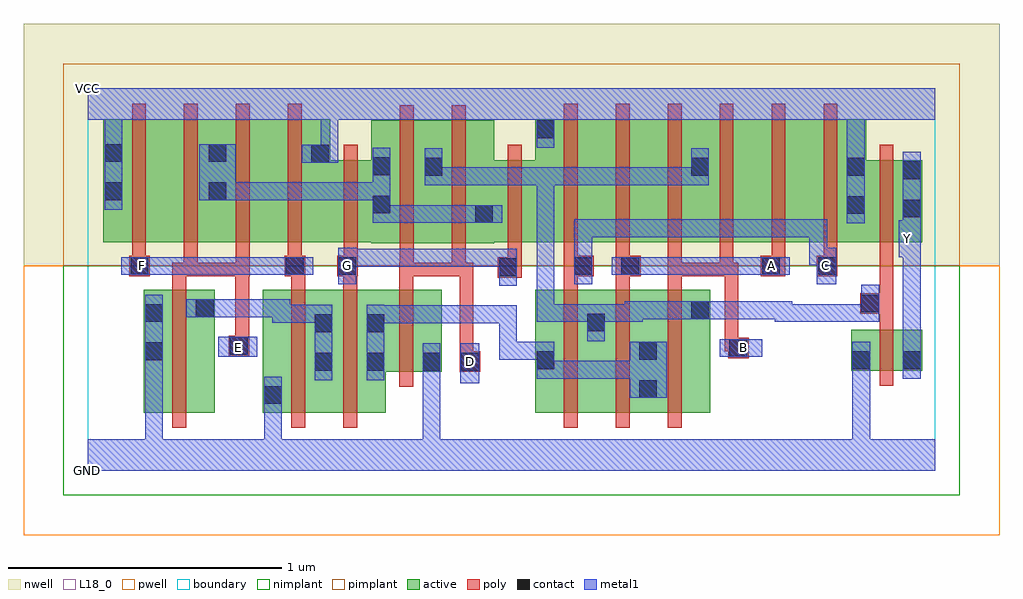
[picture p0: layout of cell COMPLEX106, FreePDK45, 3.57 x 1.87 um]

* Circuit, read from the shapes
.subckt COMPLEX106 A B C D E F G GND VCC Y
M1 n1 E GND VSUBS nfet w=0.45u l=0.05u
M2 n1 F GND VSUBS nfet w=0.45u l=0.05u
M3 n2 G n1 VSUBS nfet w=0.45u l=0.05u
M4 GND D n2 VSUBS nfet w=0.3u l=0.05u
M5 n3 C n2 VSUBS nfet w=0.45u l=0.05u
M6 n2 A n3 VSUBS nfet w=0.45u l=0.05u
M7 n3 B n2 VSUBS nfet w=0.45u l=0.05u
M8 Y n3 GND VSUBS nfet w=0.15u l=0.05u
M9 n4 F VCC n5 pfet w=0.45u l=0.05u
M10 n6 E n4 n5 pfet w=0.45u l=0.05u
M11 n7 E n6 n5 pfet w=0.45u l=0.05u
M12 VCC F n7 n5 pfet w=0.45u l=0.05u
M13 n6 G VCC n5 pfet w=0.3u l=0.05u m=2
M14 n3 D n6 n5 pfet w=0.45u l=0.05u m=2
M15 n8 C VCC n5 pfet w=0.45u l=0.05u
M16 n9 A n8 n5 pfet w=0.45u l=0.05u
M17 n3 B n9 n5 pfet w=0.45u l=0.05u
M18 n10 B n3 n5 pfet w=0.45u l=0.05u
M19 n11 A n10 n5 pfet w=0.45u l=0.05u
M20 VCC C n11 n5 pfet w=0.45u l=0.05u
M21 Y n3 VCC n5 pfet w=0.3u l=0.05u
.ends

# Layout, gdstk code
import gdstk
lib = gdstk.Library(unit=1e-6, precision=1e-09)
def R(c, l, rs):  # rectangles x0, y0, x1, y1
    for r in rs: c.add(gdstk.rectangle(r[:2], r[2:], *l))
def A(c, l, x, y, w, h, nx, ny, dx, dy):  # array of equal rectangles
    R(c, l, [(x+i*dx, y+j*dy, x+i*dx+w, y+j*dy+h) for i in range(nx) for j in range(ny)])
active = (1, 0)
pwell = (2, 0)
nwell = (3, 0)
nimplant = (4, 0)
pimplant = (5, 0)
poly = (9, 0)
contact = (10, 0)
metal1 = (11, 0)
L18_0 = (18, 0)
boundary = (235, 0)

complex106 = lib.new_cell('COMPLEX106')
R(complex106, active, [(0.205,0.212,0.465,0.662), (0.64,0.212,0.9,0.662), (0.825,0.212,1.09,0.662), (1.015,0.212,1.09,0.662), (1.637,0.212,1.897,0.662), (1.822,0.212,2.087,0.662), (2.012,0.212,2.277,0.662), (0.64,0.232,0.715,0.662), (1.637,0.232,1.712,0.662), (0.205,0.245,0.28,0.662), (0.39,0.245,0.465,0.662), (0.825,0.245,0.9,0.662), (1.822,0.245,1.897,0.58), (2.012,0.245,2.087,0.542), (2.202,0.245,2.277,0.662), (1.015,0.362,1.295,0.662), (1.22,0.362,1.295,0.437), (2.792,0.367,2.867,0.517), (2.792,0.367,3.052,0.517), (2.977,0.367,3.052,0.517), (1.037,0.832,1.302,1.282), (1.227,0.832,1.487,1.282), (0.057,0.837,0.282,1.287), (0.057,0.837,0.132,1.255), (0.282,0.837,0.512,1.287), (0.437,0.837,0.662,1.287), (0.662,0.837,0.887,1.287), (0.812,0.837,1.112,1.137), (1.037,0.837,1.112,1.2), (1.412,0.837,1.712,1.137), (1.637,0.837,1.862,1.287), (1.862,0.837,2.052,1.287), (2.052,0.837,2.277,1.287), (2.202,0.837,2.432,1.287), (2.432,0.837,2.622,1.287), (2.622,0.837,2.847,1.287), (2.772,0.837,3.052,1.137), (2.772,0.837,2.847,1.287), (2.977,0.837,3.052,1.137), (0.437,0.857,0.512,1.2), (1.227,0.857,1.302,1.2), (2.202,0.857,2.277,1.2), (1.412,0.902,1.487,1.07), (1.637,0.995,1.712,1.287), (0.812,1.007,0.887,1.287)])
R(complex106, pwell, [(-0.235,-0.235,3.335,0.75)])
R(complex106, nwell, [(-0.235,0.75,3.335,1.635)])
R(complex106, nimplant, [(-0.09,-0.09,3.19,0.75)])
R(complex106, pimplant, [(-0.09,0.75,3.19,1.49)])
A(complex106, poly, 1.742, 0.157, 0.05, 0.56, 3, 1, 0.19, 0)
A(complex106, poly, 1.742, 0.667, 0.05, 0.095, 3, 1, 0.19, 0)
A(complex106, poly, 0.162, 0.782, 0.05, 0.56, 4, 1, 0.19, 0)
A(complex106, poly, 1.742, 0.782, 0.05, 0.56, 6, 1, 0.19, 0)
R(complex106, poly, [(0.31,0.157,0.36,0.717), (0.745,0.157,0.795,0.717), (0.935,0.157,0.985,0.717), (1.14,0.307,1.19,0.717), (2.897,0.312,2.947,0.572), (1.36,0.362,1.435,0.437), (1.36,0.387,1.41,0.762), (2.342,0.412,2.417,0.487), (0.515,0.42,0.59,0.495), (2.33,0.437,2.38,0.762), (2.33,0.437,2.392,0.487), (2.342,0.437,2.392,0.487), (0.54,0.445,0.59,0.762), (2.897,0.522,2.947,0.625), (2.825,0.575,2.947,0.65), (2.897,0.6,2.947,0.832), (0.31,0.667,0.36,0.762), (0.745,0.667,0.795,0.762), (0.935,0.667,0.985,0.762), (1.14,0.667,1.19,0.762), (1.5,0.707,1.587,0.782), (0.152,0.712,0.227,0.787), (0.31,0.712,0.402,0.762), (0.352,0.712,0.402,0.832), (0.352,0.712,0.59,0.762), (0.54,0.712,0.59,0.762), (0.54,0.712,0.59,0.762), (0.54,0.712,0.59,0.762), (0.54,0.712,0.59,0.762), (0.54,0.712,0.592,0.762), (0.542,0.712,0.592,0.832), (0.72,0.712,0.795,0.787), (0.912,0.712,0.987,0.787), (1.14,0.712,1.192,0.762), (1.142,0.712,1.382,0.762), (1.142,0.712,1.192,0.762), (1.142,0.712,1.192,0.762), (1.142,0.712,1.192,0.827), (1.332,0.712,1.382,0.827), (1.332,0.712,1.41,0.762), (1.36,0.712,1.41,0.762), (1.36,0.712,1.41,0.762), (1.742,0.712,1.85,0.787), (1.932,0.712,2.022,0.787), (2.122,0.712,2.172,0.832), (2.122,0.712,2.362,0.762), (2.122,0.712,2.172,0.762), (2.122,0.712,2.172,0.762), (2.122,0.712,2.172,0.762), (2.312,0.712,2.362,0.832), (2.312,0.712,2.38,0.762), (2.462,0.712,2.552,0.787), (2.667,0.712,2.742,0.787), (1.537,0.732,1.587,0.832), (0.162,0.737,0.212,0.832), (0.732,0.737,0.782,0.832), (0.937,0.737,0.987,0.832), (1.742,0.737,1.792,0.832), (1.932,0.737,1.982,0.832), (2.502,0.737,2.552,0.832), (2.692,0.737,2.742,0.832), (1.142,0.777,1.192,1.337), (1.332,0.777,1.382,1.337), (0.937,0.782,0.987,1.192), (1.537,0.782,1.587,1.192), (2.897,0.782,2.947,1.192)])
R(complex106, contact, [(0.645,0.245,0.71,0.31), (2.017,0.267,2.082,0.332), (0.83,0.367,0.895,0.432), (1.02,0.367,1.085,0.432), (1.225,0.367,1.29,0.432), (1.365,0.367,1.43,0.432), (1.642,0.372,1.707,0.437), (2.797,0.372,2.862,0.437), (2.982,0.372,3.047,0.437), (0.21,0.405,0.275,0.47), (2.017,0.407,2.082,0.472), (2.347,0.417,2.412,0.482), (0.52,0.425,0.585,0.49), (0.83,0.507,0.895,0.572), (1.02,0.507,1.085,0.572), (1.827,0.51,1.892,0.575), (0.21,0.545,0.275,0.61), (2.207,0.555,2.272,0.62), (0.395,0.562,0.46,0.627), (2.83,0.58,2.895,0.645), (1.505,0.712,1.57,0.777), (0.157,0.717,0.222,0.782), (0.725,0.717,0.79,0.782), (0.917,0.717,0.982,0.782), (1.78,0.717,1.845,0.782), (1.952,0.717,2.017,0.782), (2.467,0.717,2.532,0.782), (2.672,0.717,2.737,0.782), (1.417,0.907,1.482,0.972), (2.982,0.927,3.047,0.992), (2.777,0.94,2.842,1.005), (1.042,0.942,1.107,1.007), (0.062,0.99,0.127,1.055), (0.442,0.99,0.507,1.055), (2.982,1.067,3.047,1.132), (1.232,1.08,1.297,1.145), (2.207,1.08,2.272,1.145), (2.777,1.08,2.842,1.145), (1.042,1.082,1.107,1.147), (0.817,1.127,0.882,1.192), (0.062,1.13,0.127,1.195), (0.442,1.13,0.507,1.195), (1.642,1.217,1.707,1.282)])
R(complex106, metal1, [(0,0,3.1,0.115), (0.21,0.05,0.275,0.115), (0.21,0.05,0.275,0.115), (0.21,0.05,0.275,0.435), (0.645,0.05,0.71,0.115), (0.645,0.05,0.71,0.115), (0.645,0.05,0.71,0.275), (1.225,0.05,1.29,0.115), (1.225,0.05,1.29,0.115), (1.225,0.05,1.29,0.115), (1.225,0.05,1.29,0.115), (1.225,0.05,1.29,0.397), (2.797,0.05,2.862,0.115), (2.797,0.05,2.862,0.115), (2.797,0.05,2.862,0.402), (0.645,0.21,0.71,0.345), (1.982,0.267,2.117,0.472), (1.362,0.32,1.432,0.467), (0.83,0.332,0.895,0.607), (1.02,0.332,1.085,0.607), (1.225,0.332,1.29,0.467), (1.642,0.337,1.707,0.472), (1.642,0.337,1.707,0.402), (1.642,0.337,1.707,0.402), (1.642,0.337,1.862,0.402), (1.797,0.337,1.862,0.402), (1.797,0.337,2.047,0.402), (1.982,0.337,2.047,0.402), (1.982,0.337,2.047,0.402), (2.797,0.337,2.862,0.472), (2.797,0.337,2.862,0.402), (2.797,0.337,2.862,0.402), (2.797,0.337,2.862,0.402), (2.797,0.337,2.862,0.402), (2.982,0.337,3.047,0.472), (0.21,0.37,0.275,0.645), (1.505,0.407,1.57,0.472), (1.505,0.407,1.57,0.472), (1.505,0.407,1.57,0.472), (1.505,0.407,1.707,0.472), (1.505,0.407,1.57,0.605), (2.982,0.407,3.047,0.847), (0.477,0.417,0.62,0.49), (2.312,0.417,2.467,0.482), (1.827,0.475,1.892,0.61), (1.02,0.54,1.16,0.605), (1.095,0.54,1.16,0.605), (1.095,0.54,1.31,0.605), (1.245,0.54,1.31,0.605), (1.245,0.54,1.31,0.605), (1.245,0.54,1.31,0.605), (1.245,0.54,1.57,0.605), (1.505,0.54,1.57,0.605), (0.675,0.542,0.895,0.607), (0.675,0.542,0.74,0.627), (1.642,0.545,1.707,0.61), (1.642,0.545,1.707,0.61), (1.642,0.545,1.707,0.61), (1.642,0.545,1.707,0.61), (1.642,0.545,1.707,0.61), (1.642,0.545,1.892,0.61), (1.642,0.545,1.707,1.11), (1.827,0.545,2.03,0.61), (1.965,0.545,2.03,0.62), (2.512,0.545,2.69,0.61), (2.512,0.545,2.577,0.62), (2.625,0.545,2.69,0.61), (2.625,0.545,2.715,0.61), (2.65,0.545,2.715,0.61), (2.65,0.545,2.895,0.61), (2.83,0.545,2.895,0.68), (2.83,0.545,2.895,0.61), (2.83,0.545,2.895,0.61), (2.83,0.545,2.895,0.61), (2.83,0.545,2.895,0.61), (1.965,0.555,2.03,0.62), (1.965,0.555,2.03,0.62), (1.965,0.555,2.222,0.62), (2.157,0.555,2.222,0.62), (2.157,0.555,2.237,0.62), (2.172,0.555,2.307,0.62), (2.242,0.555,2.36,0.62), (2.295,0.555,2.36,0.62), (2.295,0.555,2.497,0.62), (2.432,0.555,2.497,0.62), (2.432,0.555,2.577,0.62), (0.36,0.562,0.495,0.627), (0.43,0.562,0.57,0.627), (0.505,0.562,0.57,0.627), (0.505,0.562,0.707,0.627), (0.642,0.562,0.707,0.627), (0.642,0.562,0.74,0.627), (1.505,0.677,1.57,0.812), (0.917,0.682,0.982,0.817), (1.78,0.682,1.845,0.817), (2.667,0.682,2.737,0.817), (0.122,0.717,0.267,0.782), (0.202,0.717,0.267,0.782), (0.202,0.717,0.267,0.782), (0.202,0.717,0.405,0.782), (0.34,0.717,0.405,0.782), (0.34,0.717,0.405,0.782), (0.34,0.717,0.405,0.782), (0.34,0.717,0.57,0.782), (0.505,0.717,0.57,0.782), (0.505,0.717,0.68,0.782), (0.615,0.717,0.68,0.782), (0.615,0.717,0.755,0.782), (0.69,0.717,0.825,0.782), (1.917,0.717,2.052,0.782), (1.987,0.717,2.052,0.782), (1.987,0.717,2.052,0.782), (1.987,0.717,2.222,0.782), (2.157,0.717,2.222,0.782), (2.157,0.717,2.36,0.782), (2.295,0.717,2.36,0.782), (2.295,0.717,2.36,0.782), (2.295,0.717,2.36,0.782), (2.295,0.717,2.497,0.782), (2.432,0.717,2.497,0.782), (2.432,0.717,2.497,0.782), (2.432,0.717,2.567,0.782), (0.917,0.747,0.982,0.812), (0.917,0.747,0.982,0.812), (0.917,0.747,1.16,0.812), (1.095,0.747,1.16,0.812), (1.095,0.747,1.297,0.812), (1.232,0.747,1.297,0.812), (1.232,0.747,1.297,0.812), (1.232,0.747,1.297,0.812), (1.232,0.747,1.57,0.812), (1.505,0.747,1.57,0.812), (1.505,0.747,1.57,0.812), (1.78,0.752,1.845,0.817), (1.78,0.752,1.845,0.817), (1.78,0.752,1.845,0.92), (2.64,0.752,2.705,0.817), (2.64,0.752,2.732,0.817), (2.64,0.752,2.705,0.92), (2.967,0.782,3.047,0.917), (2.982,0.852,3.047,0.957), (1.78,0.855,1.845,0.92), (1.78,0.855,2.03,0.92), (1.965,0.855,2.03,0.92), (1.965,0.855,2.03,0.92), (1.965,0.855,2.03,0.92), (1.965,0.855,2.222,0.92), (2.157,0.855,2.222,0.92), (2.157,0.855,2.222,0.92), (2.157,0.855,2.222,0.92), (2.157,0.855,2.36,0.92), (2.295,0.855,2.36,0.92), (2.295,0.855,2.497,0.92), (2.432,0.855,2.497,0.92), (2.432,0.855,2.497,0.92), (2.432,0.855,2.497,0.92), (2.432,0.855,2.705,0.92), (2.64,0.855,2.705,0.92), (2.982,0.892,3.047,1.167), (2.777,0.905,2.842,1.18), (1.042,0.907,1.107,1.182), (1.042,0.907,1.16,0.972), (1.095,0.907,1.16,0.972), (1.095,0.907,1.297,0.972), (1.232,0.907,1.297,0.972), (1.232,0.907,1.297,0.972), (1.232,0.907,1.297,0.972), (1.232,0.907,1.447,0.972), (1.382,0.907,1.517,0.972), (0.062,0.955,0.127,1.23), (0.407,0.99,0.542,1.195), (0.477,0.99,0.542,1.055), (0.477,0.99,0.542,1.055), (0.477,0.99,0.707,1.055), (0.642,0.99,0.707,1.055), (0.642,0.99,0.707,1.055), (0.642,0.99,0.707,1.055), (0.642,0.99,0.845,1.055), (0.78,0.99,0.845,1.055), (0.78,0.99,0.877,1.055), (0.812,0.99,0.877,1.055), (0.812,0.99,1.107,1.055), (1.232,1.045,1.297,1.18), (1.232,1.045,1.297,1.11), (1.232,1.045,1.297,1.11), (1.232,1.045,1.57,1.11), (1.505,1.045,1.57,1.11), (1.505,1.045,1.57,1.11), (1.505,1.045,1.57,1.11), (1.505,1.045,1.707,1.11), (1.642,1.045,1.707,1.11), (1.642,1.045,1.707,1.11), (1.642,1.045,1.707,1.11), (1.642,1.045,1.845,1.11), (1.78,1.045,1.845,1.11), (1.78,1.045,1.845,1.11), (1.78,1.045,1.845,1.11), (1.78,1.045,2.085,1.11), (2.02,1.045,2.085,1.11), (2.02,1.045,2.085,1.11), (2.02,1.045,2.085,1.11), (2.02,1.045,2.222,1.11), (2.157,1.045,2.222,1.11), (2.157,1.045,2.272,1.11), (2.207,1.045,2.272,1.18), (2.777,1.115,2.842,1.35), (0.782,1.127,0.917,1.192), (0.852,1.127,0.917,1.35), (0.062,1.165,0.127,1.35), (1.642,1.182,1.707,1.317), (1.642,1.252,1.707,1.35), (0,1.285,3.1,1.4)])
R(complex106, L18_0, [(0,0,3.1,0.115), (0.21,0.05,0.275,0.115), (0.21,0.05,0.275,0.115), (0.21,0.05,0.275,0.435), (0.645,0.05,0.71,0.115), (0.645,0.05,0.71,0.115), (0.645,0.05,0.71,0.275), (1.225,0.05,1.29,0.115), (1.225,0.05,1.29,0.115), (1.225,0.05,1.29,0.115), (1.225,0.05,1.29,0.115), (1.225,0.05,1.29,0.397), (2.797,0.05,2.862,0.115), (2.797,0.05,2.862,0.115), (2.797,0.05,2.862,0.402), (0.645,0.21,0.71,0.345), (1.362,0.32,1.432,0.467), (1.225,0.332,1.29,0.467), (2.797,0.337,2.862,0.402), (2.797,0.337,2.862,0.402), (2.797,0.337,2.862,0.402), (2.797,0.337,2.862,0.402), (2.797,0.337,2.862,0.472), (2.982,0.337,3.047,0.472), (1.367,0.367,1.432,0.432), (0.21,0.37,0.275,0.645), (2.982,0.407,3.047,0.847), (0.477,0.417,0.62,0.49), (0.517,0.417,0.582,0.482), (2.312,0.417,2.467,0.482), (2.367,0.417,2.432,0.482), (1.505,0.677,1.57,0.812), (0.917,0.682,0.982,0.817), (1.78,0.682,1.845,0.817), (2.667,0.682,2.737,0.817), (0.122,0.717,0.267,0.782), (0.167,0.717,0.232,0.782), (0.202,0.717,0.267,0.782), (0.202,0.717,0.267,0.782), (0.202,0.717,0.405,0.782), (0.34,0.717,0.405,0.782), (0.34,0.717,0.405,0.782), (0.34,0.717,0.405,0.782), (0.34,0.717,0.57,0.782), (0.505,0.717,0.57,0.782), (0.505,0.717,0.68,0.782), (0.615,0.717,0.68,0.782), (0.615,0.717,0.755,0.782), (0.69,0.717,0.825,0.782), (0.917,0.717,0.982,0.782), (1.917,0.717,2.052,0.782), (1.987,0.717,2.052,0.782), (1.987,0.717,2.052,0.782), (1.987,0.717,2.222,0.782), (2.157,0.717,2.222,0.782), (2.157,0.717,2.36,0.782), (2.295,0.717,2.36,0.782), (2.295,0.717,2.36,0.782), (2.295,0.717,2.36,0.782), (2.295,0.717,2.497,0.782), (2.432,0.717,2.497,0.782), (2.432,0.717,2.497,0.782), (2.432,0.717,2.567,0.782), (2.467,0.717,2.532,0.782), (2.667,0.717,2.732,0.782), (0.917,0.747,0.982,0.812), (0.917,0.747,0.982,0.812), (0.917,0.747,1.16,0.812), (1.095,0.747,1.16,0.812), (1.095,0.747,1.297,0.812), (1.232,0.747,1.297,0.812), (1.232,0.747,1.297,0.812), (1.232,0.747,1.297,0.812), (1.232,0.747,1.57,0.812), (1.505,0.747,1.57,0.812), (1.505,0.747,1.57,0.812), (1.78,0.752,1.845,0.817), (1.78,0.752,1.845,0.817), (1.78,0.752,1.845,0.92), (2.64,0.752,2.705,0.817), (2.64,0.752,2.705,0.92), (2.64,0.752,2.732,0.817), (2.967,0.782,3.047,0.917), (2.967,0.817,3.032,0.882), (2.982,0.852,3.047,0.957), (1.78,0.855,1.845,0.92), (1.78,0.855,2.03,0.92), (1.965,0.855,2.03,0.92), (1.965,0.855,2.03,0.92), (1.965,0.855,2.03,0.92), (1.965,0.855,2.222,0.92), (2.157,0.855,2.222,0.92), (2.157,0.855,2.222,0.92), (2.157,0.855,2.222,0.92), (2.157,0.855,2.36,0.92), (2.295,0.855,2.36,0.92), (2.295,0.855,2.497,0.92), (2.432,0.855,2.497,0.92), (2.432,0.855,2.497,0.92), (2.432,0.855,2.497,0.92), (2.432,0.855,2.705,0.92), (2.64,0.855,2.705,0.92), (2.982,0.892,3.047,1.167), (2.777,0.905,2.842,1.18), (0.062,0.955,0.127,1.23), (2.777,1.115,2.842,1.35), (0.782,1.127,0.917,1.192), (0.852,1.127,0.917,1.35), (0.062,1.165,0.127,1.35), (1.642,1.182,1.707,1.317), (1.642,1.252,1.707,1.35), (0,1.285,3.1,1.4)])
R(complex106, boundary, [(0,0,3.1,1.4)])
complex106.add(gdstk.Label('A', (2.5,0.75), layer=11, texttype=0))
complex106.add(gdstk.Label('B', (2.4,0.45), layer=11, texttype=0))
complex106.add(gdstk.Label('C', (2.7,0.75), layer=11, texttype=0))
complex106.add(gdstk.Label('D', (1.4,0.4), layer=11, texttype=0))
complex106.add(gdstk.Label('E', (0.55,0.45), layer=11, texttype=0))
complex106.add(gdstk.Label('F', (0.2,0.75), layer=11, texttype=0))
complex106.add(gdstk.Label('G', (0.95,0.75), layer=11, texttype=0))
complex106.add(gdstk.Label('Y', (3,0.85), layer=11, texttype=0))
complex106.add(gdstk.Label('VCC', (0,1.4), layer=11, texttype=0))
complex106.add(gdstk.Label('GND', (0,0), layer=11, texttype=0))

lib.write_gds('COMPLEX106.gds')
